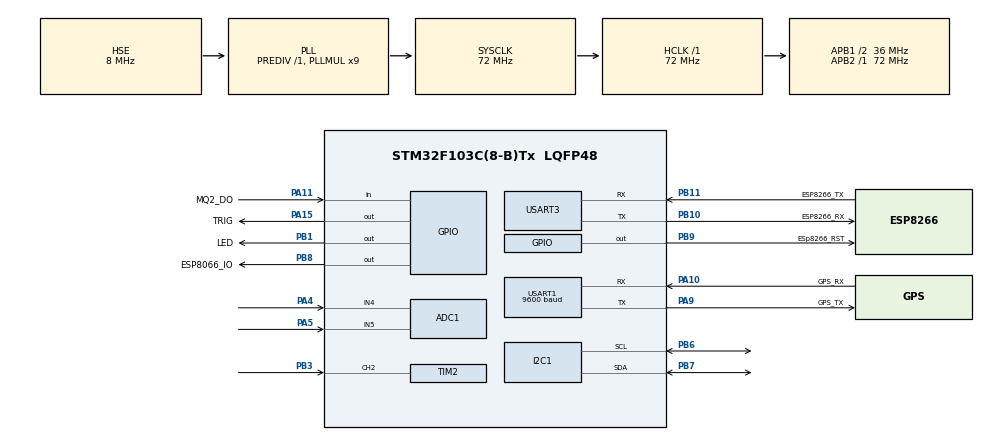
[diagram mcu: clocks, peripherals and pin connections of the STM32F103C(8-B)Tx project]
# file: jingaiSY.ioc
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ADC1.Channel-0\#ChannelRegularConversion=ADC_CHANNEL_5
ADC1.ContinuousConvMode=ENABLE
ADC1.DataAlign=ADC_DATAALIGN_RIGHT
ADC1.NbrOfConversionFlag=1
ADC1.Rank-0\#ChannelRegularConversion=1
ADC1.SamplingTime-0\#ChannelRegularConversion=ADC_SAMPLETIME_55CYCLES_5
ADC1.master=1
Dma.Request0=USART3_RX
Dma.USART3_RX.0.Direction=DMA_PERIPH_TO_MEMORY
Dma.USART3_RX.0.Instance=DMA1_Channel3
Dma.USART3_RX.0.MemDataAlignment=DMA_MDATAALIGN_BYTE
Dma.USART3_RX.0.MemInc=DMA_MINC_ENABLE
Dma.USART3_RX.0.Mode=DMA_NORMAL
Dma.USART3_RX.0.PeriphDataAlignment=DMA_PDATAALIGN_BYTE
Dma.USART3_RX.0.PeriphInc=DMA_PINC_DISABLE
Dma.USART3_RX.0.Priority=DMA_PRIORITY_LOW
Mcu.Family=STM32F1
Mcu.Name=STM32F103C(8-B)Tx
Mcu.Package=LQFP48
NVIC.DMA1_Channel3_IRQn=true\:0\:0\:false\:false\:true\:false\:true\:true
NVIC.PriorityGroup=NVIC_PRIORITYGROUP_4
NVIC.TIM2_IRQn=true\:0\:0\:false\:false\:true\:true\:true\:true
NVIC.USART1_IRQn=true\:0\:0\:false\:false\:true\:true\:true\:true
NVIC.USART3_IRQn=true\:3\:0\:true\:false\:true\:true\:true\:true
PA10.GPIO_Label=GPS_RX
PA10.Mode=Asynchronous
PA10.Signal=USART1_RX
PA11.GPIO_Label=MQ2_DO
PA11.Signal=GPIO_Input
PA13.Mode=Serial_Wire
PA13.Signal=SYS_JTMS-SWDIO
PA14.Mode=Serial_Wire
PA14.Signal=SYS_JTCK-SWCLK
PA15.GPIO_Label=TRIG
PA15.Signal=GPIO_Output
PA4.Signal=ADCx_IN4
PA5.Signal=ADCx_IN5
PA9.GPIO_Label=GPS_TX
PA9.Mode=Asynchronous
PA9.Signal=USART1_TX
PB1.GPIO_Label=LED
PB1.Signal=GPIO_Output
PB10.GPIO_Label=ESP8266_RX
PB10.Mode=Asynchronous
PB10.Signal=USART3_TX
PB11.GPIO_Label=ESP8266_TX
PB11.Mode=Asynchronous
PB11.Signal=USART3_RX
PB3.Signal=S_TIM2_CH2
PB6.Mode=I2C
PB6.Signal=I2C1_SCL
PB7.Mode=I2C
PB7.Signal=I2C1_SDA
PB8.GPIO_Label=ESP8066_IO
PB8.PinState=GPIO_PIN_SET
PB8.Signal=GPIO_Output
PB9.GPIO_Label=ESp8266_RST
PB9.PinState=GPIO_PIN_SET
PB9.Signal=GPIO_Output
PC14-OSC32_IN.Mode=LSE-External-Oscillator
PC14-OSC32_IN.Signal=RCC_OSC32_IN
PC15-OSC32_OUT.Mode=LSE-External-Oscillator
PC15-OSC32_OUT.Signal=RCC_OSC32_OUT
PD0-OSC_IN.Mode=HSE-External-Oscillator
PD0-OSC_IN.Signal=RCC_OSC_IN
PD1-OSC_OUT.Mode=HSE-External-Oscillator
PD1-OSC_OUT.Signal=RCC_OSC_OUT
ProjectManager.HeapSize=0x200
ProjectManager.StackSize=0x400
ProjectManager.TargetToolchain=CMake
RCC.ADCPresc=RCC_ADCPCLK2_DIV6
RCC.AHBFreq_Value=72000000
RCC.APB1CLKDivider=RCC_HCLK_DIV2
RCC.APB1Freq_Value=36000000
RCC.APB1TimFreq_Value=72000000
RCC.APB2Freq_Value=72000000
RCC.APB2TimFreq_Value=72000000
RCC.HCLKFreq_Value=72000000
RCC.PLLMUL=RCC_PLL_MUL9
RCC.PLLSourceVirtual=RCC_PLLSOURCE_HSE
RCC.SYSCLKFreq_VALUE=72000000
RCC.SYSCLKSource=RCC_SYSCLKSOURCE_PLLCLK
RCC.USBFreq_Value=72000000
SH.ADCx_IN4.0=ADC1_IN4,IN4
SH.ADCx_IN5.0=ADC1_IN5,IN5
SH.S_TIM2_CH2.0=TIM2_CH2,Input_Capture2_from_TI2
TIM2.Channel-Input_Capture2_from_TI2=TIM_CHANNEL_2
TIM2.Prescaler=71
USART1.BaudRate=9600
USART1.VirtualMode=VM_ASYNC
USART3.VirtualMode=VM_ASYNC
VP_TIM2_VS_ClockSourceINT.Mode=Internal
board=custom

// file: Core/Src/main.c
/* USER CODE BEGIN Header */
/**
  ******************************************************************************
  * @file           : main.c
  * @brief          : Main program body
  ******************************************************************************
  * @attention
  *
  * Copyright (c) 2026 STMicroelectronics.
  * All rights reserved.
  *
  * This software is licensed under terms that can be found in the LICENSE file
  * in the root directory of this software component.
  * If no LICENSE file comes with this software, it is provided AS-IS.
  *
  ******************************************************************************
  */
/* USER CODE END Header */
#include "main.h"
#include "adc.h"
#include "dma.h"
#include "i2c.h"
#include "tim.h"
#include "usart.h"
#include "gpio.h"

/* USER CODE BEGIN Includes */
#include "esp8266.h"
#include "gps.h"

/* USER CODE END Includes */

/* USER CODE BEGIN PTD */
typedef enum
{
  WIFI_MONITOR_IDLE = 0,
  WIFI_MONITOR_CHECK_MODULE,
  WIFI_MONITOR_SET_STATION,
  WIFI_MONITOR_CONNECTING,
  WIFI_MONITOR_CONNECTED,
  WIFI_MONITOR_FAILED
} WiFiMonitorState;

/* USER CODE END PTD */

/* USER CODE BEGIN PD */
/* ESP8266 联网参数：这里先直接写死，后续可以改成从 Flash 或配置区读取。 */
#define WIFI_SSID "TP-LINK_DE1F"
#define WIFI_PASSWORD "fgw00000"
#define API_HOST "192.168.1.109"
#define API_PATH "/api/telemetry"
#define API_PORT 3000
#define GPS_UPLOAD_INTERVAL_MS 10000U
#define WIFI_RECONNECT_INTERVAL_MS 30000U
#define ULTRASONIC_TRIGGER_INTERVAL_MS 200U
#define ULTRASONIC_ECHO_TIMEOUT_MS 60U
#define ULTRASONIC_TIMER_PERIOD_US 65536U
#define MPU6050_ADDR (0x68U << 1)
#define MPU6050_REG_WHO_AM_I 0x75U
#define MPU6050_REG_PWR_MGMT_1 0x6BU
#define MPU6050_REG_ACCEL_XOUT_H 0x3BU
#define MPU6050_SAMPLE_INTERVAL_MS 100U
#define MPU6050_TILT_THRESHOLD_RAW 8192
#define MPU6050_ACCEL_MOVE_DELTA_RAW 6000
#define MPU6050_GYRO_MOVE_THRESHOLD_RAW 8000
#define MPU6050_ONE_G_RAW 16384
#define MPU6050_MAX_TILT_MDEG 90000
#define MPU6050_POWER_ON_DELAY_MS 500U
#define MPU6050_INIT_RETRY_INTERVAL_MS 1000U
#define MQ2_SAMPLE_INTERVAL_MS 200U
#define MQ2_AO_ADC_CHANNEL ADC_CHANNEL_4
#define MQ2_DEFAULT_ADC_CHANNEL ADC_CHANNEL_5
#define MQ2_AO_ALARM_THRESHOLD 2000U
#define MQ2_DO_ALARM_STATE GPIO_PIN_RESET
#define ALARM_LED_ACTIVE_STATE GPIO_PIN_SET
#define ALARM_LED_INACTIVE_STATE GPIO_PIN_RESET

/* USER CODE END PD */

/* USER CODE BEGIN PV */
/* ESP8266 调试状态：在 VS Code Watch 中观察这些变量，判断 AT / WiFi / HTTP 步骤是否成功。 */
volatile HAL_StatusTypeDef esp_init_status;
volatile ESP8266_Result esp_check_result;
volatile ESP8266_Result esp_wifi_result;
volatile ESP8266_Result esp_http_result;
volatile ESP8266_Result esp_station_mode_result;
volatile WiFiMonitorState wifi_monitor_state;
volatile uint32_t wifi_connect_attempt_count;
volatile uint32_t wifi_connect_success_count;
volatile uint32_t wifi_connect_fail_count;
volatile uint32_t wifi_last_connect_tick;
volatile uint32_t gps_upload_success_count;
volatile uint32_t gps_upload_fail_count;
volatile uint32_t gps_upload_attempt_count;
volatile uint32_t gps_upload_skip_no_wifi_count;
volatile uint32_t gps_upload_skip_invalid_count;
volatile uint32_t distance_upload_skip_no_data_count;
volatile uint32_t debug_reset_flags;
volatile uint8_t debug_reset_low_power;
volatile uint8_t debug_reset_window_watchdog;
volatile uint8_t debug_reset_independent_watchdog;
volatile uint8_t debug_reset_software;
volatile uint8_t debug_reset_power;
volatile uint8_t debug_reset_pin;
volatile uint8_t debug_gps_valid;
volatile char debug_gps_utc_time[11];
volatile int32_t debug_gps_latitude_microdegrees;
volatile int32_t debug_gps_longitude_microdegrees;
volatile uint8_t debug_gps_satellites;
volatile int32_t debug_gps_altitude_meters;
volatile uint32_t debug_gps_last_parse_tick;
volatile uint32_t debug_ultrasonic_echo_us;
volatile uint32_t debug_ultrasonic_distance_mm;
volatile uint32_t debug_ultrasonic_capture_count;
volatile uint32_t debug_ultrasonic_timeout_count;
volatile uint8_t debug_ultrasonic_ready;
volatile uint8_t debug_ultrasonic_waiting_echo;
volatile HAL_StatusTypeDef debug_mpu6050_init_status;
volatile HAL_StatusTypeDef debug_mpu6050_read_status;
volatile uint8_t debug_mpu6050_who_am_i;
volatile uint8_t debug_mpu6050_ready;
volatile uint8_t debug_mpu6050_alarm;
volatile uint8_t debug_mpu6050_tilt_detected;
volatile uint8_t debug_mpu6050_motion_detected;
volatile int16_t debug_mpu6050_accel_x;
volatile int16_t debug_mpu6050_accel_y;
volatile int16_t debug_mpu6050_accel_z;
volatile int16_t debug_mpu6050_gyro_x;
volatile int16_t debug_mpu6050_gyro_y;
volatile int16_t debug_mpu6050_gyro_z;
volatile int32_t debug_mpu6050_tilt_x_mdeg;
volatile int32_t debug_mpu6050_tilt_y_mdeg;
volatile uint32_t debug_mpu6050_motion_raw;
volatile HAL_StatusTypeDef debug_mq2_adc_status;
volatile GPIO_PinState debug_mq2_do_state;
volatile uint32_t debug_mq2_ao_raw;
volatile uint32_t debug_mq2_concentration_permille;
volatile uint8_t debug_mq2_do_alarm;
volatile uint8_t debug_mq2_ao_alarm;
volatile uint8_t debug_mq2_alarm;
volatile uint32_t debug_mq2_sample_count;
static GPS_Fix current_gps_fix;
static uint32_t last_gps_upload_tick;
static uint32_t ultrasonic_rise_capture_us;
static uint32_t ultrasonic_last_trigger_tick;
static uint8_t ultrasonic_capture_falling_edge;
static uint32_t mpu6050_last_sample_tick;
static uint32_t mpu6050_last_init_attempt_tick;
static int16_t mpu6050_last_accel_x;
static int16_t mpu6050_last_accel_y;
static int16_t mpu6050_last_accel_z;
static uint8_t mpu6050_has_previous_sample;

/* USER CODE END PV */

void SystemClock_Config(void);
/* USER CODE BEGIN PFP */
static void WiFi_ConnectOnce(void);
static void GPS_UpdateDebugFix(const GPS_Fix *fix);
static void DWT_DelayUs(uint32_t us);
static void Ultrasonic_Init(void);
static void Ultrasonic_Trigger(void);
static void Ultrasonic_CheckTimeout(void);
static int32_t Abs32(int32_t value);
static int32_t Clamp32(int32_t value, int32_t min_value, int32_t max_value);
static int16_t MPU6050_ReadInt16(const uint8_t *data);
static int32_t MPU6050_AccelToTiltMdeg(int16_t accel_raw);
static HAL_StatusTypeDef ADC_SelectChannel(uint32_t channel);
static void AlarmLed_Set(uint8_t active);
static void AlarmLed_SelfTest(void);
static void Led_UpdateAlarm(void);
static void MPU6050_Init(void);
static void MPU6050_TryInit(void);
static void MPU6050_Process(void);
static void MQ2_Process(void);

/* USER CODE END PFP */

/* USER CODE BEGIN 0 */
static void WiFi_ConnectOnce(void)
{
  wifi_connect_attempt_count++;
  wifi_last_connect_tick = HAL_GetTick();

  if (WIFI_SSID[0] == '\0')
  {
    wifi_monitor_state = WIFI_MONITOR_FAILED;
    wifi_connect_fail_count++;
    esp_wifi_result = ESP8266_ERROR;
    return;
  }

  wifi_monitor_state = WIFI_MONITOR_CHECK_MODULE;
  esp_check_result = ESP8266_Check(2000);
  if (esp_check_result != ESP8266_OK)
  {
    wifi_monitor_state = WIFI_MONITOR_FAILED;
    wifi_connect_fail_count++;
    esp_wifi_result = esp_check_result;
    return;
  }

  wifi_monitor_state = WIFI_MONITOR_SET_STATION;
  esp_station_mode_result = ESP8266_SetStationMode(2000);
  if (esp_station_mode_result != ESP8266_OK)
  {
    wifi_monitor_state = WIFI_MONITOR_FAILED;
    wifi_connect_fail_count++;
    esp_wifi_result = esp_station_mode_result;
    return;
  }

  wifi_monitor_state = WIFI_MONITOR_CONNECTING;
  esp_wifi_result = ESP8266_ConnectWiFi(WIFI_SSID, WIFI_PASSWORD, 15000);
  if (esp_wifi_result == ESP8266_OK)
  {
    wifi_monitor_state = WIFI_MONITOR_CONNECTED;
    wifi_connect_success_count++;
    last_gps_upload_tick = HAL_GetTick();
  }
  else
  {
    wifi_monitor_state = WIFI_MONITOR_FAILED;
    wifi_connect_fail_count++;
  }
}

static void GPS_UpdateDebugFix(const GPS_Fix *fix)
{
  uint8_t i;

  if (fix == NULL)
  {
    return;
  }

  debug_gps_valid = fix->valid;
  debug_gps_latitude_microdegrees = fix->latitude_microdegrees;
  debug_gps_longitude_microdegrees = fix->longitude_microdegrees;
  debug_gps_satellites = fix->satellites;
  debug_gps_altitude_meters = fix->altitude_meters;
  debug_gps_last_parse_tick = HAL_GetTick();

  for (i = 0; i < sizeof(debug_gps_utc_time); i++)
  {
    debug_gps_utc_time[i] = fix->utc_time[i];
    if (fix->utc_time[i] == '\0')
    {
      break;
    }
  }

  if (i >= sizeof(debug_gps_utc_time))
  {
    debug_gps_utc_time[sizeof(debug_gps_utc_time) - 1U] = '\0';
  }
}

static void DWT_DelayUs(uint32_t us)
{
  uint32_t start_tick = DWT->CYCCNT;
  uint32_t delay_ticks = us * (HAL_RCC_GetHCLKFreq() / 1000000U);

  while ((DWT->CYCCNT - start_tick) < delay_ticks)
  {
  }
}

static void Ultrasonic_Init(void)
{
  CoreDebug->DEMCR |= CoreDebug_DEMCR_TRCENA_Msk;
  DWT->CYCCNT = 0;
  DWT->CTRL |= DWT_CTRL_CYCCNTENA_Msk;

  __HAL_TIM_SET_CAPTUREPOLARITY(&htim2, TIM_CHANNEL_2, TIM_INPUTCHANNELPOLARITY_RISING);
  __HAL_TIM_SET_COUNTER(&htim2, 0);

  if (HAL_TIM_IC_Start_IT(&htim2, TIM_CHANNEL_2) != HAL_OK)
  {
    Error_Handler();
  }
}

static void Ultrasonic_Trigger(void)
{
  if (debug_ultrasonic_waiting_echo != 0U)
  {
    return;
  }

  debug_ultrasonic_waiting_echo = 1U;
  ultrasonic_capture_falling_edge = 0U;
  ultrasonic_last_trigger_tick = HAL_GetTick();

  __HAL_TIM_SET_COUNTER(&htim2, 0);
  __HAL_TIM_SET_CAPTUREPOLARITY(&htim2, TIM_CHANNEL_2, TIM_INPUTCHANNELPOLARITY_RISING);

  HAL_GPIO_WritePin(TRIG_GPIO_Port, TRIG_Pin, GPIO_PIN_SET);
  DWT_DelayUs(10U);
  HAL_GPIO_WritePin(TRIG_GPIO_Port, TRIG_Pin, GPIO_PIN_RESET);
}

static void Ultrasonic_CheckTimeout(void)
{
  if ((debug_ultrasonic_waiting_echo != 0U) &&
      ((HAL_GetTick() - ultrasonic_last_trigger_tick) >= ULTRASONIC_ECHO_TIMEOUT_MS))
  {
    debug_ultrasonic_waiting_echo = 0U;
    ultrasonic_capture_falling_edge = 0U;
    debug_ultrasonic_timeout_count++;
    __HAL_TIM_SET_CAPTUREPOLARITY(&htim2, TIM_CHANNEL_2, TIM_INPUTCHANNELPOLARITY_RISING);
  }
}

static int32_t Abs32(int32_t value)
{
  return (value < 0) ? -value : value;
}

static int32_t Clamp32(int32_t value, int32_t min_value, int32_t max_value)
{
  if (value < min_value)
  {
    return min_value;
  }

  if (value > max_value)
  {
    return max_value;
  }

  return value;
}

static int16_t MPU6050_ReadInt16(const uint8_t *data)
{
  return (int16_t)(((uint16_t)data[0] << 8) | data[1]);
}

static int32_t MPU6050_AccelToTiltMdeg(int16_t accel_raw)
{
  int32_t tilt_mdeg = ((int32_t)accel_raw * MPU6050_MAX_TILT_MDEG) / MPU6050_ONE_G_RAW;

  return Clamp32(tilt_mdeg, -MPU6050_MAX_TILT_MDEG, MPU6050_MAX_TILT_MDEG);
}

static HAL_StatusTypeDef ADC_SelectChannel(uint32_t channel)
{
  ADC_ChannelConfTypeDef config = {0};

  config.Channel = channel;
  config.Rank = ADC_REGULAR_RANK_1;
  config.SamplingTime = ADC_SAMPLETIME_55CYCLES_5;

  return HAL_ADC_ConfigChannel(&hadc1, &config);
}

static void AlarmLed_Set(uint8_t active)
{
  HAL_GPIO_WritePin(LED_GPIO_Port, LED_Pin,
                    (active != 0U) ? ALARM_LED_ACTIVE_STATE : ALARM_LED_INACTIVE_STATE);
}

static void AlarmLed_SelfTest(void)
{
  AlarmLed_Set(1U);
  HAL_Delay(120U);
  AlarmLed_Set(0U);
  HAL_Delay(120U);
}

static void Led_UpdateAlarm(void)
{
  AlarmLed_Set(((debug_mpu6050_alarm != 0U) || (debug_mq2_alarm != 0U)) ? 1U : 0U);
}

static void MQ2_Process(void)
{
  static uint32_t mq2_last_sample_tick;
  GPIO_PinState do_state;

  if ((debug_mq2_sample_count != 0U) &&
      ((HAL_GetTick() - mq2_last_sample_tick) < MQ2_SAMPLE_INTERVAL_MS))
  {
    return;
  }
  mq2_last_sample_tick = HAL_GetTick();

  do_state = HAL_GPIO_ReadPin(MQ2_DO_GPIO_Port, MQ2_DO_Pin);
  debug_mq2_do_state = do_state;
  debug_mq2_do_alarm = (do_state == MQ2_DO_ALARM_STATE) ? 1U : 0U;

  (void)HAL_ADC_Stop(&hadc1);
  debug_mq2_adc_status = ADC_SelectChannel(MQ2_AO_ADC_CHANNEL);
  if (debug_mq2_adc_status == HAL_OK)
  {
    debug_mq2_adc_status = HAL_ADC_Start(&hadc1);
  }

  if (debug_mq2_adc_status == HAL_OK)
  {
    debug_mq2_adc_status = HAL_ADC_PollForConversion(&hadc1, 20U);
  }

  if (debug_mq2_adc_status == HAL_OK)
  {
    debug_mq2_ao_raw = HAL_ADC_GetValue(&hadc1);
    debug_mq2_concentration_permille = (debug_mq2_ao_raw * 1000U) / 4095U;
    debug_mq2_ao_alarm = (debug_mq2_ao_raw >= MQ2_AO_ALARM_THRESHOLD) ? 1U : 0U;
    debug_mq2_sample_count++;
  }

  (void)HAL_ADC_Stop(&hadc1);
  (void)ADC_SelectChannel(MQ2_DEFAULT_ADC_CHANNEL);

  debug_mq2_alarm = ((debug_mq2_do_alarm != 0U) || (debug_mq2_ao_alarm != 0U)) ? 1U : 0U;
  Led_UpdateAlarm();
}

static void MPU6050_Init(void)
{
  uint8_t pwr_mgmt = 0x00U;

  mpu6050_last_init_attempt_tick = HAL_GetTick();
  debug_mpu6050_ready = 0U;
  debug_mpu6050_alarm = 0U;
  debug_mpu6050_tilt_detected = 0U;
  debug_mpu6050_motion_detected = 0U;
  debug_mpu6050_tilt_x_mdeg = 0;
  debug_mpu6050_tilt_y_mdeg = 0;
  debug_mpu6050_motion_raw = 0U;
  Led_UpdateAlarm();

  debug_mpu6050_init_status = HAL_I2C_IsDeviceReady(&hi2c1, MPU6050_ADDR, 3U, 100U);
  if (debug_mpu6050_init_status != HAL_OK)
  {
    return;
  }

  debug_mpu6050_init_status = HAL_I2C_Mem_Read(&hi2c1, MPU6050_ADDR,
                                               MPU6050_REG_WHO_AM_I,
                                               I2C_MEMADD_SIZE_8BIT,
                                               (uint8_t *)&debug_mpu6050_who_am_i,
                                               1U, 100U);
  if (debug_mpu6050_init_status != HAL_OK)
  {
    return;
  }

  debug_mpu6050_init_status = HAL_I2C_Mem_Write(&hi2c1, MPU6050_ADDR,
                                                MPU6050_REG_PWR_MGMT_1,
                                                I2C_MEMADD_SIZE_8BIT,
                                                &pwr_mgmt, 1U, 100U);
  if (debug_mpu6050_init_status != HAL_OK)
  {
    return;
  }

  debug_mpu6050_ready = 1U;
  mpu6050_has_previous_sample = 0U;
  mpu6050_last_sample_tick = HAL_GetTick() - MPU6050_SAMPLE_INTERVAL_MS;
}

static void MPU6050_TryInit(void)
{
  if (debug_mpu6050_ready != 0U)
  {
    return;
  }

  if (HAL_GetTick() < MPU6050_POWER_ON_DELAY_MS)
  {
    return;
  }

  if ((HAL_GetTick() - mpu6050_last_init_attempt_tick) < MPU6050_INIT_RETRY_INTERVAL_MS)
  {
    return;
  }

  MPU6050_Init();
}

static void MPU6050_Process(void)
{
  uint8_t data[14];
  int32_t accel_delta;
  uint8_t tilt_detected;
  uint8_t motion_detected;

  if (debug_mpu6050_ready == 0U)
  {
    MPU6050_TryInit();
    debug_mpu6050_alarm = 0U;
    Led_UpdateAlarm();
    return;
  }

  if ((HAL_GetTick() - mpu6050_last_sample_tick) < MPU6050_SAMPLE_INTERVAL_MS)
  {
    return;
  }
  mpu6050_last_sample_tick = HAL_GetTick();

  debug_mpu6050_read_status = HAL_I2C_Mem_Read(&hi2c1, MPU6050_ADDR,
                                               MPU6050_REG_ACCEL_XOUT_H,
                                               I2C_MEMADD_SIZE_8BIT,
                                               data, sizeof(data), 100U);
  if (debug_mpu6050_read_status != HAL_OK)
  {
    debug_mpu6050_alarm = 0U;
    Led_UpdateAlarm();
    return;
  }

  debug_mpu6050_accel_x = MPU6050_ReadInt16(&data[0]);
  debug_mpu6050_accel_y = MPU6050_ReadInt16(&data[2]);
  debug_mpu6050_accel_z = MPU6050_ReadInt16(&data[4]);
  debug_mpu6050_gyro_x = MPU6050_ReadInt16(&data[8]);
  debug_mpu6050_gyro_y = MPU6050_ReadInt16(&data[10]);
  debug_mpu6050_gyro_z = MPU6050_ReadInt16(&data[12]);
  debug_mpu6050_tilt_x_mdeg = MPU6050_AccelToTiltMdeg(debug_mpu6050_accel_x);
  debug_mpu6050_tilt_y_mdeg = MPU6050_AccelToTiltMdeg(debug_mpu6050_accel_y);

  tilt_detected =
      (Abs32(debug_mpu6050_accel_x) > MPU6050_TILT_THRESHOLD_RAW) ||
      (Abs32(debug_mpu6050_accel_y) > MPU6050_TILT_THRESHOLD_RAW);

  accel_delta = 0;
  if (mpu6050_has_previous_sample != 0U)
  {
    accel_delta += Abs32((int32_t)debug_mpu6050_accel_x - mpu6050_last_accel_x);
    accel_delta += Abs32((int32_t)debug_mpu6050_accel_y - mpu6050_last_accel_y);
    accel_delta += Abs32((int32_t)debug_mpu6050_accel_z - mpu6050_last_accel_z);
  }

  motion_detected =
      (accel_delta > MPU6050_ACCEL_MOVE_DELTA_RAW) ||
      (Abs32(debug_mpu6050_gyro_x) > MPU6050_GYRO_MOVE_THRESHOLD_RAW) ||
      (Abs32(debug_mpu6050_gyro_y) > MPU6050_GYRO_MOVE_THRESHOLD_RAW) ||
      (Abs32(debug_mpu6050_gyro_z) > MPU6050_GYRO_MOVE_THRESHOLD_RAW);
  debug_mpu6050_motion_raw =
      (uint32_t)accel_delta +
      (uint32_t)Abs32(debug_mpu6050_gyro_x) +
      (uint32_t)Abs32(debug_mpu6050_gyro_y) +
      (uint32_t)Abs32(debug_mpu6050_gyro_z);

  mpu6050_last_accel_x = debug_mpu6050_accel_x;
  mpu6050_last_accel_y = debug_mpu6050_accel_y;
  mpu6050_last_accel_z = debug_mpu6050_accel_z;
  mpu6050_has_previous_sample = 1U;

  debug_mpu6050_tilt_detected = tilt_detected;
  debug_mpu6050_motion_detected = motion_detected;
  debug_mpu6050_alarm = (tilt_detected || motion_detected) ? 1U : 0U;

  Led_UpdateAlarm();
}

/* USER CODE END 0 */

int main(void)
{

  /* USER CODE BEGIN 1 */
  debug_reset_flags = RCC->CSR;
  debug_reset_low_power = __HAL_RCC_GET_FLAG(RCC_FLAG_LPWRRST) ? 1U : 0U;
  debug_reset_window_watchdog = __HAL_RCC_GET_FLAG(RCC_FLAG_WWDGRST) ? 1U : 0U;
  debug_reset_independent_watchdog = __HAL_RCC_GET_FLAG(RCC_FLAG_IWDGRST) ? 1U : 0U;
  debug_reset_software = __HAL_RCC_GET_FLAG(RCC_FLAG_SFTRST) ? 1U : 0U;
  debug_reset_power = __HAL_RCC_GET_FLAG(RCC_FLAG_PORRST) ? 1U : 0U;
  debug_reset_pin = __HAL_RCC_GET_FLAG(RCC_FLAG_PINRST) ? 1U : 0U;
  __HAL_RCC_CLEAR_RESET_FLAGS();

  /* USER CODE END 1 */

  /* MCU Configuration--------------------------------------------------------*/

  /* Reset of all peripherals, Initializes the Flash interface and the Systick. */
  HAL_Init();

  /* Configure the system clock */
  SystemClock_Config();

  /* Initialize all configured peripherals */
  MX_GPIO_Init();
  AlarmLed_SelfTest();
  MX_DMA_Init();
  MX_USART1_UART_Init();
  MX_USART3_UART_Init();
  MX_TIM2_Init();
  MX_ADC1_Init();
  MX_I2C1_Init();
  /* USER CODE BEGIN 2 */
  /* USART1 接 ATGM332D，GPS 模块会主动输出 NMEA，不需要先发送命令。 */
  GPS_Init(&huart1);
  Ultrasonic_Init();
  mpu6050_last_init_attempt_tick = HAL_GetTick();

  /* USART3 接 ESP8266，用 AT 指令检测模块并连接 WiFi。联网放到主循环里，避免挡住报警检测。 */
  esp_init_status = ESP8266_Init(&huart3);
  wifi_monitor_state = WIFI_MONITOR_FAILED;
  wifi_last_connect_tick = HAL_GetTick() - WIFI_RECONNECT_INTERVAL_MS;

  /* USER CODE END 2 */

  /* Infinite loop */
  while (1)
  {

    /* USER CODE BEGIN 3 */
    if (GPS_ProcessNewSentence(&current_gps_fix))
    {
      GPS_UpdateDebugFix(&current_gps_fix);
    }

    MPU6050_Process();
    MQ2_Process();

    Ultrasonic_CheckTimeout();
    if ((HAL_GetTick() - ultrasonic_last_trigger_tick) >= ULTRASONIC_TRIGGER_INTERVAL_MS)
    {
      Ultrasonic_Trigger();
    }

    if ((wifi_monitor_state != WIFI_MONITOR_CONNECTED) &&
        ((HAL_GetTick() - wifi_last_connect_tick) >= WIFI_RECONNECT_INTERVAL_MS))
    {
      WiFi_ConnectOnce();
    }

    if ((HAL_GetTick() - last_gps_upload_tick) >= GPS_UPLOAD_INTERVAL_MS)
    {
      last_gps_upload_tick = HAL_GetTick();

      if (esp_wifi_result != ESP8266_OK)
      {
        gps_upload_skip_no_wifi_count++;
      }
      else if (debug_ultrasonic_ready == 0U)
      {
        distance_upload_skip_no_data_count++;
      }
      else
      {
        gps_upload_attempt_count++;
        esp_http_result = ESP8266_UploadDistance(API_HOST, API_PATH, API_PORT,
                                                 debug_ultrasonic_distance_mm,
                                                 debug_ultrasonic_echo_us,
                                                 debug_mpu6050_tilt_x_mdeg,
                                                 debug_mpu6050_tilt_y_mdeg,
                                                 debug_mpu6050_motion_raw,
                                                 debug_mpu6050_gyro_x,
                                                 debug_mpu6050_gyro_y,
                                                 debug_mpu6050_gyro_z,
                                                 debug_mq2_ao_raw,
                                                 debug_mq2_concentration_permille,
                                                 debug_mq2_alarm,
                                                 debug_mq2_do_alarm,
                                                 debug_mq2_ao_alarm,
                                                 &gps_latest_fix, 15000);

        if (esp_http_result == ESP8266_OK)
        {
          gps_upload_success_count++;
        }
        else
        {
          gps_upload_fail_count++;
        }
      }
    }
    HAL_Delay(10);
  }
  /* USER CODE END 3 */
}

void SystemClock_Config(void)
{
  RCC_OscInitTypeDef RCC_OscInitStruct = {0};
  RCC_ClkInitTypeDef RCC_ClkInitStruct = {0};
  RCC_PeriphCLKInitTypeDef PeriphClkInit = {0};

  /** Initializes the RCC Oscillators according to the specified parameters
  * in the RCC_OscInitTypeDef structure.
  */
  RCC_OscInitStruct.OscillatorType = RCC_OSCILLATORTYPE_HSE;
  RCC_OscInitStruct.HSEState = RCC_HSE_ON;
  RCC_OscInitStruct.HSEPredivValue = RCC_HSE_PREDIV_DIV1;
  RCC_OscInitStruct.HSIState = RCC_HSI_ON;
  RCC_OscInitStruct.PLL.PLLState = RCC_PLL_ON;
  RCC_OscInitStruct.PLL.PLLSource = RCC_PLLSOURCE_HSE;
  RCC_OscInitStruct.PLL.PLLMUL = RCC_PLL_MUL9;
  if (HAL_RCC_OscConfig(&RCC_OscInitStruct) != HAL_OK)
  {
    Error_Handler();
  }

  /** Initializes the CPU, AHB and APB buses clocks
  */
  RCC_ClkInitStruct.ClockType = RCC_CLOCKTYPE_HCLK|RCC_CLOCKTYPE_SYSCLK
                              |RCC_CLOCKTYPE_PCLK1|RCC_CLOCKTYPE_PCLK2;
  RCC_ClkInitStruct.SYSCLKSource = RCC_SYSCLKSOURCE_PLLCLK;
  RCC_ClkInitStruct.AHBCLKDivider = RCC_SYSCLK_DIV1;
  RCC_ClkInitStruct.APB1CLKDivider = RCC_HCLK_DIV2;
  RCC_ClkInitStruct.APB2CLKDivider = RCC_HCLK_DIV1;

  if (HAL_RCC_ClockConfig(&RCC_ClkInitStruct, FLASH_LATENCY_2) != HAL_OK)
  {
    Error_Handler();
  }
  PeriphClkInit.PeriphClockSelection = RCC_PERIPHCLK_ADC;
  PeriphClkInit.AdcClockSelection = RCC_ADCPCLK2_DIV6;
  if (HAL_RCCEx_PeriphCLKConfig(&PeriphClkInit) != HAL_OK)
  {
    Error_Handler();
  }
}

/* USER CODE BEGIN 4 */
void HAL_TIM_IC_CaptureCallback(TIM_HandleTypeDef *htim)
{
  uint32_t capture_us;
  uint32_t echo_width_us;

  if ((htim->Instance != TIM2) || (htim->Channel != HAL_TIM_ACTIVE_CHANNEL_2))
  {
    return;
  }

  capture_us = HAL_TIM_ReadCapturedValue(htim, TIM_CHANNEL_2);

  if (ultrasonic_capture_falling_edge == 0U)
  {
    ultrasonic_rise_capture_us = capture_us;
    ultrasonic_capture_falling_edge = 1U;
    __HAL_TIM_SET_CAPTUREPOLARITY(htim, TIM_CHANNEL_2, TIM_INPUTCHANNELPOLARITY_FALLING);
  }
  else
  {
    if (capture_us >= ultrasonic_rise_capture_us)
    {
      echo_width_us = capture_us - ultrasonic_rise_capture_us;
    }
    else
    {
      echo_width_us = (ULTRASONIC_TIMER_PERIOD_US - ultrasonic_rise_capture_us) + capture_us;
    }

    debug_ultrasonic_echo_us = echo_width_us;
    debug_ultrasonic_distance_mm = (echo_width_us * 343U) / 2000U;
    debug_ultrasonic_capture_count++;
    debug_ultrasonic_ready = 1U;
    debug_ultrasonic_waiting_echo = 0U;
    ultrasonic_capture_falling_edge = 0U;
    __HAL_TIM_SET_CAPTUREPOLARITY(htim, TIM_CHANNEL_2, TIM_INPUTCHANNELPOLARITY_RISING);
  }
}

/* USER CODE END 4 */

void Error_Handler(void)
{
  __disable_irq();
  while (1)
  {
  }
}
